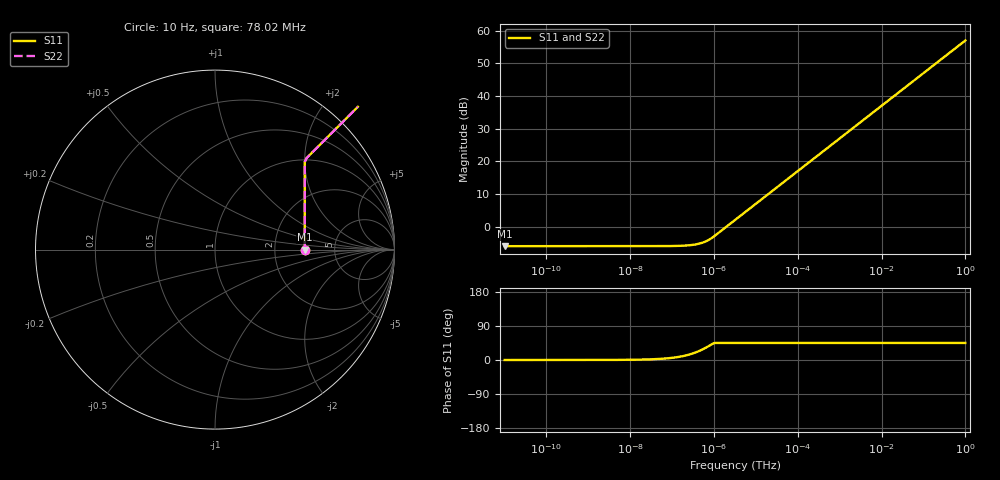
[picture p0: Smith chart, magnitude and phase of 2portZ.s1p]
# HZ S RI R 50
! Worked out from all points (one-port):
!   400 points, 10 Hz to 1 THz, reference 50 ohm
!   lowest |S11| = -6.0 dB at 10 Hz (marker M1), VSWR 3.00, Z = 150 + j0.002 ohm
!   |S11| at or under -10 dB: nowhere
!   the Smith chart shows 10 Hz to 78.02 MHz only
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10  0.5 5e-06  0 0  0 0  0.5 5e-06
703.263  0.5 0.000352  0 0  0 0  0.5 0.000352
46415.89  0.5 0.0232  0 0  0 0  0.5 0.0232
3264258  0.9034 0.9034  0 0  0 0  0.9034 0.9034
3.881257e7  3.115 3.115  0 0  0 0  3.115 3.115
2.295632e8  7.576 7.576  0 0  0 0  7.576 7.576
8.706621e8  14.75 14.75  0 0  0 0  14.75 14.75
2.729545e9  26.12 26.12  0 0  0 0  26.12 26.12
6.638273e9  40.74 40.74  0 0  0 0  40.74 40.74
1.515134e10  61.55 61.55  0 0  0 0  61.55 61.55
3.045855e10  87.26 87.26  0 0  0 0  87.26 87.26
5.746435e10  119.9 119.9  0 0  0 0  119.9 119.9
1.017463e11  159.5 159.5  0 0  0 0  159.5 159.5
1.397537e11  186.9 186.9  0 0  0 0  186.9 186.9
1.80152e11  212.2 212.2  0 0  0 0  212.2 212.2
2.809452e11  265 265  0 0  0 0  265 265
3.621573e11  300.9 300.9  0 0  0 0  300.9 300.9
4.38131e11  331 331  0 0  0 0  331 331
5.647805e11  375.8 375.8  0 0  0 0  375.8 375.8
6.832607e11  413.3 413.3  0 0  0 0  413.3 413.3
8.265959e11  454.6 454.6  0 0  0 0  454.6 454.6
1e12  500 500  0 0  0 0  500 500
